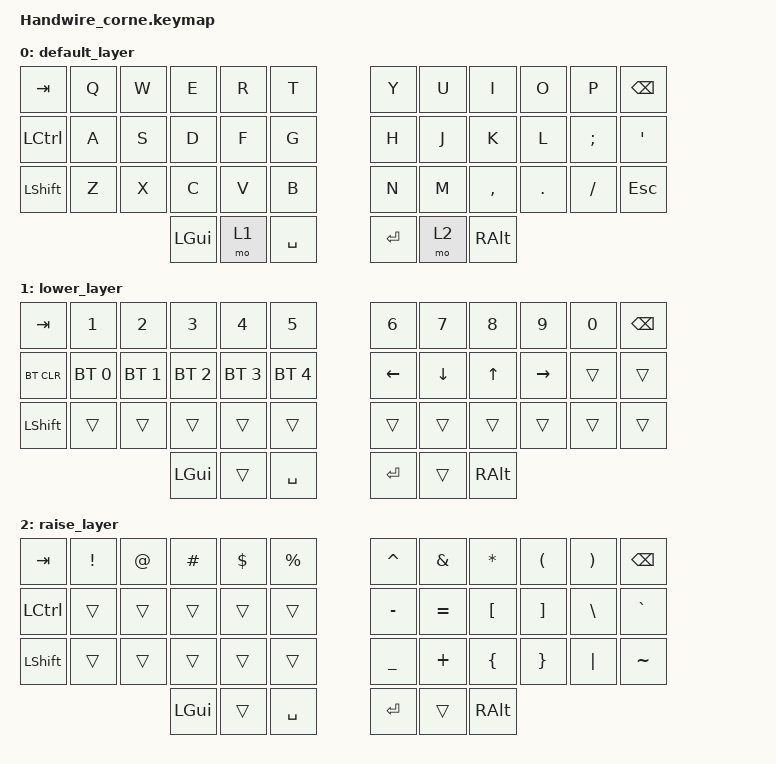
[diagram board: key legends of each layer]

#include <behaviors.dtsi>
#include <dt-bindings/zmk/keys.h>
#include <dt-bindings/zmk/bt.h>


    behaviors {
        bm: bottom_row_mods {
            compatible = "zmk,behavior-hold-tap";
            #binding-cells = <2>;
            tapping-term-ms = <135>;
            quick-tap-ms = <0>;
            flavor = "tap-preferred";
            bindings = <&kp>, <&kp>;
        };

        cm: code_row_mods {
            compatible = "zmk,behavior-hold-tap";
            #binding-cells = <2>;
            tapping-term-ms = <200>;
            quick-tap-ms = <0>;
            flavor = "tap-preferred";
            bindings = <&kp>, <&kp>;
            retro-tap;
        };

        sm: space_mod {
            compatible = "zmk,behavior-hold-tap";
            #binding-cells = <2>;
            flavor = "balanced";
            tapping-term-ms = <200>;
            quick-tap-ms = <125>;
            bindings = <&kp>, <&kp>;
        };

        td_multi_mac: tap_dance_multi_mac {
            compatible = "zmk,behavior-tap-dance";
            #binding-cells = <0>;
            tapping-term-ms = <200>;
            bindings = <&sm ESC LALT>, <&spotlight>, <&kp LCTRL>, <&mac_emoji>;
        };

        td_multi_windows: tap_dance_multi_windows {
            compatible = "zmk,behavior-tap-dance";
            #binding-cells = <0>;
            tapping-term-ms = <200>;
            bindings = <&sm ESC LALT>, <&kp LGUI>, <&windows_emoji>;
        };
    };


/ {
    keymap {
        compatible = "zmk,keymap";

        default_layer {
// -----------------------------------------------------------------------------------------
// |  TAB |  Q  |  W  |  E  |  R  |  T  |   |  Y  |  U   |  I  |  O  |  P  | BSPC |
// | CTRL |  A  |  S  |  D  |  F  |  G  |   |  H  |  J   |  K  |  L  |  ;  |  '   |
// | SHFT |  Z  |  X  |  C  |  V  |  B  |   |  N  |  M   |  ,  |  .  |  /  | ESC  |
//                    | GUI | LWR | SPC |   | ENT | RSE  | ALT |
                        bindings = <
   &kp TAB   &kp Q &kp W &kp E &kp R &kp T   &kp Y &kp U  &kp I     &kp O   &kp P    &kp BSPC
   &kp LCTRL &kp A &kp S &kp D &kp F &kp G   &kp H &kp J  &kp K     &kp L   &kp SEMI &kp SQT
   &kp LSHFT &kp Z &kp X &kp C &kp V &kp B   &kp N &kp M  &kp COMMA &kp DOT &kp FSLH &kp ESC
                  &kp LGUI &mo 1 &kp SPACE   &kp RET &mo 2 &kp RALT
                        >;
                };
                lower_layer {
// -----------------------------------------------------------------------------------------
// |  TAB |  1  |  2  |  3  |  4  |  5  |   |  6  |  7  |  8  |  9  |  0  | BSPC |
// | BTCLR| BT1 | BT2 | BT3 | BT4 | BT5 |   | LFT | DWN |  UP | RGT |     |      |
// | SHFT |     |     |     |     |     |   |     |     |     |     |     |      |
//                    | GUI |     | SPC |   | ENT |     | ALT |
                        bindings = <
   &kp TAB    &kp N1       &kp N2       &kp N3       &kp N4       &kp N5         &kp N6   &kp N7   &kp N8 &kp N9    &kp N0 &kp BSPC
   &bt BT_CLR &bt BT_SEL 0 &bt BT_SEL 1 &bt BT_SEL 2 &bt BT_SEL 3 &bt BT_SEL 4   &kp LEFT &kp DOWN &kp UP &kp RIGHT &trans &trans
   &kp LSHFT  &trans       &trans       &trans       &trans       &trans         &trans   &trans   &trans &trans    &trans &trans
                                    &kp LGUI     &trans       &kp SPACE      &kp RET  &trans   &kp RALT
                        >;
                };

                raise_layer {
// -----------------------------------------------------------------------------------------
// |  TAB |  !  |  @  |  #  |  $  |  %  |   |  ^  |  &  |  *  |  (  |  )  | BSPC |
// | CTRL |     |     |     |     |     |   |  -  |  =  |  [  |  ]  |  \  |  `   |
// | SHFT |     |     |     |     |     |   |  _  |  +  |  {  |  }  | "|" |  ~   |
//                    | GUI |     | SPC |   | ENT |     | ALT |
                        bindings = <
   &kp  TAB  &kp EXCL &kp AT &kp HASH &kp DLLR &kp PRCNT   &kp CARET &kp AMPS  &kp ASTRK &kp LPAR &kp RPAR &kp BSPC
   &kp LCTRL &trans   &trans &trans   &trans   &trans      &kp MINUS &kp EQUAL &kp LBKT  &kp RBKT &kp BSLH &kp GRAVE
   &kp LSHFT &trans   &trans &trans   &trans   &trans      &kp UNDER &kp PLUS  &kp LBRC  &kp RBRC &kp PIPE &kp TILDE
                             &kp LGUI &trans   &kp SPACE   &kp RET   &trans    &kp RALT
                        >;
                };
        };
};
       
